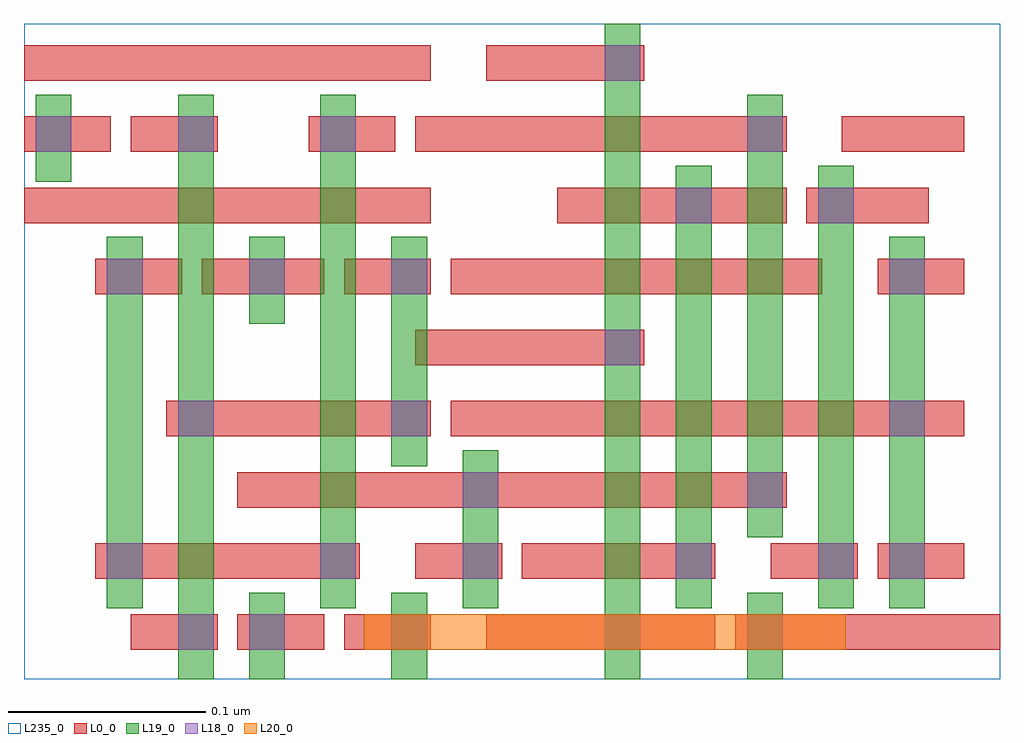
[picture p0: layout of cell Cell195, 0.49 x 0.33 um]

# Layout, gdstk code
import gdstk
lib = gdstk.Library(unit=1e-6, precision=2.5e-10)
def R(c, l, rs):  # rectangles x0, y0, x1, y1
    for r in rs: c.add(gdstk.rectangle(r[:2], r[2:], *l))
def A(c, l, x, y, w, h, nx, ny, dx, dy):  # array of equal rectangles
    R(c, l, [(x+i*dx, y+j*dy, x+i*dx+w, y+j*dy+h) for i in range(nx) for j in range(ny)])
L0_0 = (0, 0)
L18_0 = (18, 0)
L19_0 = (19, 0)
L20_0 = (20, 0)
L235_0 = (235, 0)

cell195 = lib.new_cell('Cell195')
A(cell195, L0_0, 0.058, -0.001, 0.044, 0.018, 3, 1, 0.054, 0)
R(cell195, L0_0, [(0.238,-0.001,0.354,0.017), (0.364,-0.001,0.498,0.017), (0.04,0.035,0.174,0.053), (0.202,0.035,0.246,0.053), (0.256,0.035,0.354,0.053), (0.382,0.035,0.426,0.053), (0.436,0.035,0.48,0.053), (0.112,0.071,0.39,0.089), (0.076,0.107,0.21,0.125), (0.22,0.107,0.48,0.125), (0.202,0.143,0.318,0.161), (0.04,0.179,0.084,0.197), (0.094,0.179,0.156,0.197), (0.166,0.179,0.21,0.197), (0.22,0.179,0.408,0.197), (0.436,0.179,0.48,0.197), (0.004,0.215,0.21,0.233), (0.274,0.215,0.39,0.233), (0.4,0.215,0.462,0.233), (0.004,0.251,0.048,0.269), (0.058,0.251,0.102,0.269), (0.148,0.251,0.192,0.269), (0.202,0.251,0.39,0.269), (0.418,0.251,0.48,0.269), (0.004,0.287,0.21,0.305), (0.238,0.287,0.318,0.305)])
A(cell195, L18_0, 0.298, -0.001, 0.018, 0.018, 1, 3, 0, 0.144)
A(cell195, L18_0, 0.442, 0.035, 0.018, 0.018, 1, 3, 0, 0.072)
A(cell195, L18_0, 0.046, 0.179, 0.018, 0.018, 3, 1, 0.072, 0)
A(cell195, L18_0, 0.01, 0.251, 0.018, 0.018, 3, 1, 0.072, 0)
R(cell195, L18_0, [(0.082,-0.001,0.1,0.017), (0.118,-0.001,0.136,0.017), (0.19,-0.001,0.208,0.017), (0.37,-0.001,0.388,0.017), (0.046,0.035,0.064,0.053), (0.154,0.035,0.172,0.053), (0.226,0.035,0.244,0.053), (0.334,0.035,0.352,0.053), (0.406,0.035,0.424,0.053), (0.226,0.071,0.244,0.089), (0.37,0.071,0.388,0.089), (0.082,0.107,0.1,0.125), (0.19,0.107,0.208,0.125), (0.334,0.215,0.352,0.233), (0.406,0.215,0.424,0.233), (0.37,0.251,0.388,0.269)])
R(cell195, L19_0, [(0.082,-0.016,0.1,0.28), (0.118,-0.016,0.136,0.028), (0.19,-0.016,0.208,0.028), (0.298,-0.016,0.316,0.316), (0.37,-0.016,0.388,0.028), (0.046,0.02,0.064,0.208), (0.154,0.02,0.172,0.28), (0.226,0.02,0.244,0.1), (0.334,0.02,0.352,0.244), (0.406,0.02,0.424,0.244), (0.442,0.02,0.46,0.208), (0.37,0.056,0.388,0.28), (0.19,0.092,0.208,0.208), (0.118,0.164,0.136,0.208), (0.01,0.236,0.028,0.28)])
R(cell195, L20_0, [(0.176,-0.001,0.42,0.017)])
R(cell195, L235_0, [(0.004,-0.016,0.498,0.316)])

lib.write_gds('Cell195.gds')
